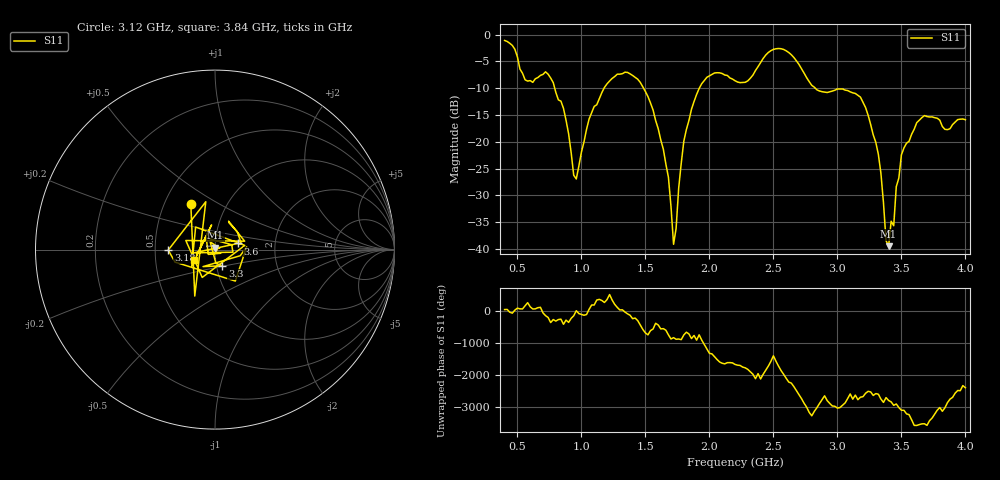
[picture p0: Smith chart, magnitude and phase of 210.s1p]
!Created with skrf (http://scikit-rf.org).
# Hz S RI R 50.0
!freq ReS11 ImS11
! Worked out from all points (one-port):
!   181 points, 400 MHz to 4 GHz, reference 50 ohm
!   lowest |S11| = -39.5 dB at 3.4 GHz (marker M1), VSWR 1.02, Z = 50.2 + j1.04 ohm
!   |S11| at or under -10 dB: 791.4 MHz to 1.177 GHz (385.7 MHz wide, 39.2 % of centre); 1.485 GHz to 1.921 GHz (435.8 MHz wide, 25.6 % of centre); 2.827 GHz to end of sweep
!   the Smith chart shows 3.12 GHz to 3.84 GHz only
!   S11 on the Smith chart (normalised r, x): 3.12 GHz: 0.68, +0.37; 3.18 GHz: 0.59, -0.00; 3.3 GHz: 1.07, -0.19; 3.6 GHz: 1.29, +0.09; 3.84 GHz: 0.79, -0.10
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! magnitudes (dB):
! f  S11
! 400 MHz  -1.1
! 560 MHz  -8.4
! 740 MHz  -7.4
! 860 MHz  -13.8
! 960 MHz  -26.9
! 1.1 GHz  -13.4
! 1.3 GHz  -7.4
! 1.56 GHz  -14.1
! 1.68 GHz  -26.6
! 1.72 GHz  -39.1
! 1.76 GHz  -28.6
! 1.8 GHz  -19.9
! 1.92 GHz  -10.1
! 2.2 GHz  -8.6
! 2.5 GHz  -2.8
! 2.66 GHz  -4.3
! 2.84 GHz  -10.3
! 3.1 GHz  -10.7
! 3.12 GHz  -10.9
! 3.18 GHz  -11.7
! 3.3 GHz  -20.1
! 3.4 GHz  -39.5
! 3.44 GHz  -35.7
! 3.5 GHz  -22.4
! 3.56 GHz  -19.9
! 3.6 GHz  -17.7
! 3.84 GHz  -17.7
! 4 GHz  -15.9
